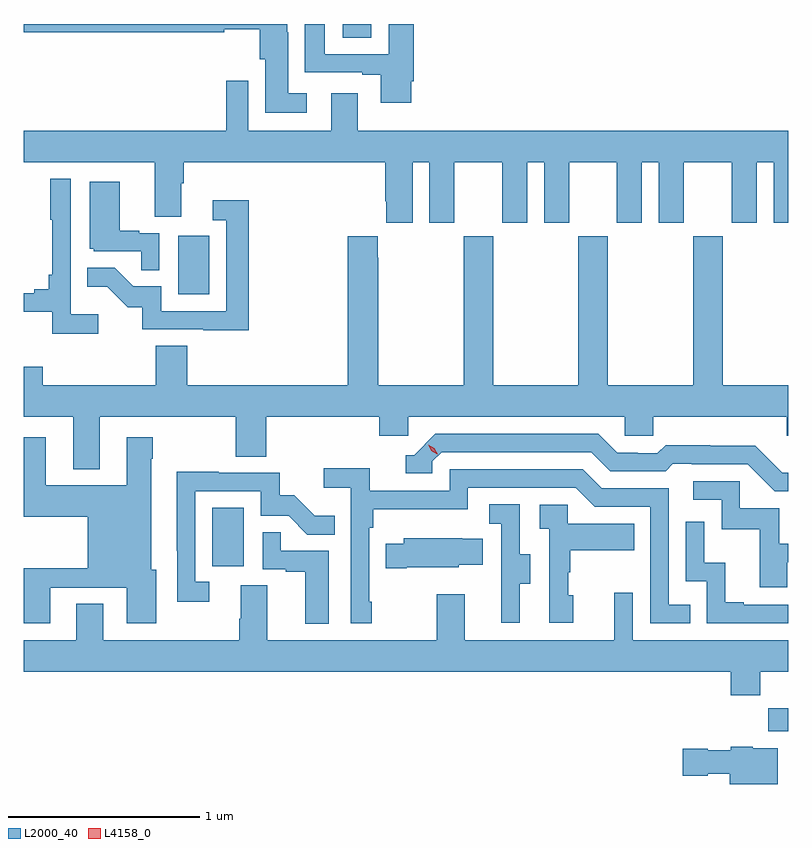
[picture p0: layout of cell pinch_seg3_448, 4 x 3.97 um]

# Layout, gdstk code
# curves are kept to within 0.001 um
import gdstk
lib = gdstk.Library(unit=1e-6, precision=1e-09)
def R(c, l, rs):  # rectangles x0, y0, x1, y1
    for r in rs: c.add(gdstk.rectangle(r[:2], r[2:], *l))
def P(c, l, *ps):  # polygons
    for p in ps: c.add(gdstk.Polygon(p, *l))
L2000_40 = (2000, 40)
L4158_0 = (4158, 0)

pinch_seg3_448 = lib.new_cell('pinch_seg3_448')
R(pinch_seg3_448, L2000_40, [(941.23,675.296,941.336,675.415), (938.324,676.158,938.488,676.465), (938.144,677.58,938.308,677.887), (939.005,678.922,939.154,678.994)])
P(pinch_seg3_448, L2000_40, [(938.818,678.631),(938.719,678.631),(938.719,678.95),(938.715,678.95),(938.715,678.994),(937.336,678.994),(937.336,678.952),(938.386,678.952),(938.386,678.967),(938.57,678.967),(938.57,678.81),(938.6,678.81),(938.6,678.53),(938.818,678.53)],
  [(939.364,678.694),(939.377,678.694),(939.377,678.994),(939.245,678.994),(939.245,678.837),(938.911,678.837),(938.911,678.994),(938.807,678.994),(938.807,678.741),(939.107,678.741),(939.107,678.729),(939.203,678.729),(939.203,678.582),(939.364,678.582)],
  [(939.37,678.272),(939.458,678.272),(939.458,677.955),(939.589,677.955),(939.589,678.272),(939.839,678.272),(939.839,677.955),(939.97,677.955),(939.97,678.272),(940.058,678.272),(940.058,677.955),(940.189,677.955),(940.189,678.272),(940.439,678.272),(940.439,677.955),(940.57,677.955),(940.57,678.272),(940.658,678.272),(940.658,677.955),(940.789,677.955),(940.789,678.272),(941.039,678.272),(941.039,677.955),(941.17,677.955),(941.17,678.272),(941.258,678.272),(941.258,677.955),(941.336,677.955),(941.336,678.436),(939.085,678.436),(939.085,678.631),(938.945,678.631),(938.945,678.436),(938.511,678.436),(938.511,678.697),(938.395,678.697),(938.395,678.436),(937.336,678.436),(937.336,678.272),(938.021,678.272),(938.021,677.986),(938.161,677.986),(938.161,678.16),(938.174,678.16),(938.174,678.272),(939.227,678.272),(939.227,678.067),(939.233,678.067),(939.233,677.955),(939.37,677.955)],
  [(937.726,677.476),(937.584,677.476),(937.584,678.184),(937.476,678.184),(937.476,677.971),(937.487,677.971),(937.487,677.683),(937.468,677.683),(937.468,677.606),(937.391,677.606),(937.391,677.587),(937.336,677.587),(937.336,677.49),(937.487,677.49),(937.487,677.374),(937.726,677.374)],
  [(938.046,677.901),(937.94,677.901),(937.94,677.914),(937.84,677.914),(937.84,678.169),(937.682,678.169),(937.682,677.82),(937.704,677.82),(937.704,677.805),(937.951,677.805),(937.951,677.707),(938.046,677.707)],
  [(938.513,678.073),(938.325,678.073),(938.325,677.967),(938.397,677.967),(938.397,677.493),(938.055,677.493),(938.055,677.622),(937.911,677.622),(937.813,677.72),(937.669,677.72),(937.669,677.621),(937.773,677.621),(937.88,677.514),(937.957,677.514),(937.957,677.397),(938.275,677.397),(938.275,677.392),(938.513,677.392)],
  [(937.735,676.94),(938.446,676.94),(938.446,676.732),(938.606,676.732),(938.606,676.94),(939.197,676.94),(939.197,676.842),(939.348,676.842),(939.348,676.94),(940.479,676.94),(940.479,676.842),(940.629,676.842),(940.629,676.94),(941.327,676.94),(941.327,676.842),(941.336,676.842),(941.336,677.104),(940.992,677.104),(940.992,677.884),(940.837,677.884),(940.837,677.104),(940.392,677.104),(940.392,677.884),(940.237,677.884),(940.237,677.104),(939.792,677.104),(939.792,677.884),(939.637,677.884),(939.637,677.104),(939.192,677.104),(939.192,677.771),(939.187,677.771),(939.187,677.884),(939.032,677.884),(939.032,677.104),(938.192,677.104),(938.192,677.312),(938.027,677.312),(938.027,677.104),(937.436,677.104),(937.436,677.202),(937.336,677.202),(937.336,676.94),(937.595,676.94),(937.595,676.667),(937.735,676.667)],
  [(941.336,676.647),(941.304,676.647),(941.162,676.789),(940.926,676.789),(940.926,676.792),(940.693,676.792),(940.651,676.749),(940.548,676.749),(940.548,676.752),(940.441,676.752),(940.342,676.851),(939.489,676.851),(939.378,676.74),(939.335,676.74),(939.335,676.644),(939.474,676.644),(939.474,676.707),(939.522,676.755),(940.305,676.755),(940.404,676.656),(940.693,676.656),(940.732,676.695),(940.831,676.695),(940.831,676.692),(941.124,676.692),(941.265,676.551),(941.336,676.551)],
  [(937.477,676.047),(937.877,676.047),(937.877,675.861),(938.029,675.861),(938.029,676.14),(938.005,676.14),(938.005,676.721),(938.013,676.721),(938.013,676.834),(937.877,676.834),(937.877,676.582),(937.453,676.582),(937.453,676.834),(937.336,676.834),(937.336,676.418),(937.673,676.418),(937.673,676.148),(937.336,676.148),(937.336,676.047),(937.337,676.047),(937.337,675.861),(937.477,675.861)],
  [(939.157,675.973),(939.144,675.973),(939.144,676.361),(939.164,676.361),(939.164,676.457),(939.66,676.457),(939.66,676.569),(940.224,676.569),(940.323,676.47),(940.614,676.47),(940.614,675.861),(940.823,675.861),(940.823,675.957),(940.71,675.957),(940.71,676.566),(940.36,676.566),(940.261,676.665),(939.564,676.665),(939.564,676.554),(939.146,676.554),(939.146,676.67),(938.907,676.67),(938.907,676.568),(939.048,676.568),(939.048,675.861),(939.157,675.861)],
  [(938.308,676.077),(938.235,676.077),(938.235,676.551),(938.577,676.551),(938.577,676.422),(938.722,676.422),(938.82,676.324),(938.963,676.324),(938.963,676.423),(938.859,676.423),(938.752,676.53),(938.676,676.53),(938.676,676.647),(938.357,676.647),(938.357,676.652),(938.138,676.652),(938.139,675.972),(938.308,675.972)],
  [(941.329,676.179),(941.336,676.179),(941.336,676.275),(941.287,676.275),(941.287,676.461),(941.082,676.461),(941.082,676.602),(940.839,676.602),(940.839,676.506),(940.986,676.506),(940.986,676.353),(941.185,676.353),(941.185,676.05),(941.329,676.05)],
  [(939.931,676.066),(939.985,676.066),(939.985,676.221),(939.93,676.221),(939.93,676.484),(939.771,676.484),(939.771,676.381),(939.834,676.381),(939.834,676.077),(939.833,676.077),(939.833,675.864),(939.931,675.864)],
  [(940.21,676.008),(940.185,676.008),(940.185,676.127),(940.195,676.127),(940.195,676.241),(940.529,676.241),(940.529,676.381),(940.182,676.381),(940.182,676.479),(940.035,676.479),(940.035,676.355),(940.086,676.355),(940.086,675.864),(940.21,675.864)],
  [(941.336,675.957),(941.101,675.957),(941.101,675.97),(941.006,675.97),(941.006,676.178),(940.896,676.178),(940.896,676.39),(940.8,676.39),(940.8,676.08),(940.908,676.08),(940.908,675.861),(941.336,675.861)],
  [(938.932,676.239),(938.681,676.239),(938.681,676.337),(938.586,676.337),(938.586,676.143),(938.707,676.143),(938.707,676.131),(938.81,676.131),(938.81,675.857),(938.932,675.857)],
  [(939.34,676.154),(939.612,676.154),(939.612,676.166),(939.737,676.166),(939.737,676.303),(939.629,676.303),(939.629,676.306),(939.323,676.306),(939.323,676.276),(939.229,676.276),(939.229,676.147),(939.34,676.147)],
  [(941.189,675.608),(941.336,675.608),(941.336,675.772),(940.521,675.772),(940.521,676.021),(940.424,676.021),(940.424,675.772),(939.643,675.772),(939.643,676.012),(939.496,676.012),(939.496,675.772),(938.611,675.772),(938.611,676.058),(938.471,676.058),(938.471,675.884),(938.464,675.884),(938.464,675.772),(937.753,675.772),(937.753,675.962),(937.613,675.962),(937.613,675.772),(937.336,675.772),(937.336,675.608),(941.033,675.608),(941.033,675.484),(941.189,675.484)],
  [(941.281,675.208),(941.148,675.208),(941.148,675.214),(941.034,675.214),(941.034,675.196),(940.914,675.196),(940.914,675.204),(940.782,675.204),(940.782,675.062),(940.914,675.062),(940.914,675.074),(941.03,675.074),(941.03,675.02),(941.281,675.02)])
P(pinch_seg3_448, L4158_0, [(939.5,676.743),(939.469,676.762),(939.453,676.795),(939.453,676.795),(939.453,676.795),(939.484,676.776),(939.501,676.743),(939.501,676.743)])

lib.write_gds('pinch_seg3_448.gds')
